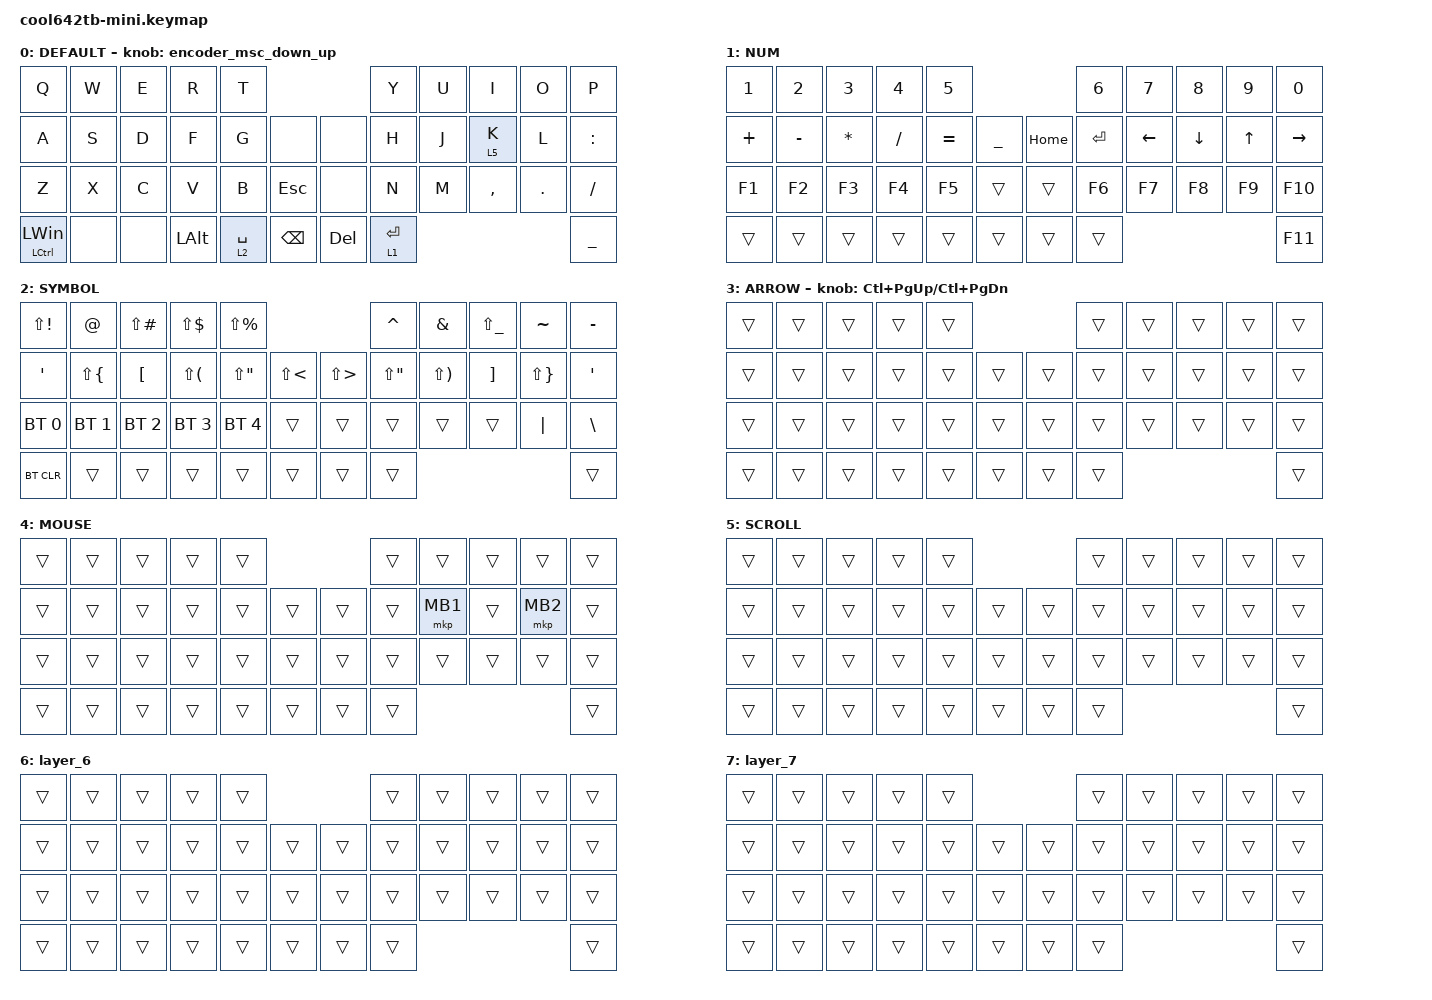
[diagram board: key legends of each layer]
#include <behaviors.dtsi>
#include <dt-bindings/zmk/bt.h>
#include <dt-bindings/zmk/keys.h>
#include <dt-bindings/zmk/pointing.h>

#define MOUSE 4
#define SCROLL 5
#define NUM 6
#define ZMK_POINTING_DEFAULT_SCRL_VAL 80

&mt {
    flavor = "balanced";
    quick-tap-ms = <0>;
};

/ {
    combos {
        compatible = "zmk,combos";

        shift_tab {
            bindings = <&kp LANG2>;
            key-positions = <12 13>;
        };

        lang {
            bindings = <&kp LANG1>;
            key-positions = <18 19>;
        };
    };

    behaviors {
        encoder_msc_down_up: encoder_msc_down_up {
            compatible = "zmk,behavior-sensor-rotate";
            label = "ENCODER_MSC_DOWN_UP";
            #sensor-binding-cells = <0>;
            bindings = <&msc SCRL_UP>, <&msc SCRL_DOWN>;

            tap-ms = <20>;
        };
    };

    keymap {
        compatible = "zmk,keymap";

        DEFAULT {
            bindings = <
&kp Q                      &kp W  &kp E  &kp R         &kp T                                       &kp Y        &kp U  &kp I      &kp O    &kp P
&kp A                      &kp S  &kp D  &kp F         &kp G        &none              &none       &kp H        &kp J  &lt 5 K    &kp L    &kp COLON
&kp Z                      &kp X  &kp C  &kp V         &kp B        &kp ESCAPE         &none       &kp N        &kp M  &kp COMMA  &kp DOT  &kp SLASH
&mt LEFT_CONTROL LEFT_WIN  &none  &none  &kp LEFT_ALT  &lt 2 SPACE  &kp BACKSPACE      &kp DELETE  &lt 1 ENTER                             &kp UNDERSCORE
            >;

            sensor-bindings = <&encoder_msc_down_up>;
        };

        NUM {
            bindings = <
&kp N1    &kp N2     &kp N3     &kp N4     &kp N5                              &kp N6     &kp N7    &kp N8    &kp N9        &kp N0
&kp PLUS  &kp MINUS  &kp ASTRK  &kp SLASH  &kp EQUAL  &kp UNDER      &kp HOME  &kp ENTER  &kp LEFT  &kp DOWN  &kp UP_ARROW  &kp RIGHT
&kp F1    &kp F2     &kp F3     &kp F4     &kp F5     &trans         &trans    &kp F6     &kp F7    &kp F8    &kp F9        &kp F10
&trans    &trans     &trans     &trans     &trans     &trans         &trans    &trans                                       &kp F11
            >;
        };

        SYMBOL {
            bindings = <
&kp LS(EXCL)  &kp AT        &kp LS(POUND)  &kp LS(DLLR)  &kp LS(PRCNT)                              &kp CARET    &kp AMPERSAND  &kp LS(UNDER)  &kp TILDE     &kp MINUS
&kp SQT       &kp LS(LBRC)  &kp LBKT       &kp LS(LPAR)  &kp LS(DQT)    &kp LS(LT)      &kp LS(GT)  &kp LS(DQT)  &kp LS(RPAR)   &kp RBKT       &kp LS(RBRC)  &kp SQT
&bt BT_SEL 0  &bt BT_SEL 1  &bt BT_SEL 2   &bt BT_SEL 3  &bt BT_SEL 4   &trans          &trans      &trans       &trans         &trans         &kp PIPE      &kp BACKSLASH
&bt BT_CLR    &trans        &trans         &trans        &trans         &trans          &trans      &trans                                                   &trans
            >;
        };

        ARROW {
            bindings = <
&trans  &trans  &trans  &trans  &trans                      &trans  &trans  &trans  &trans  &trans
&trans  &trans  &trans  &trans  &trans  &trans      &trans  &trans  &trans  &trans  &trans  &trans
&trans  &trans  &trans  &trans  &trans  &trans      &trans  &trans  &trans  &trans  &trans  &trans
&trans  &trans  &trans  &trans  &trans  &trans      &trans  &trans                          &trans
            >;

            sensor-bindings = <&inc_dec_kp LC(PAGE_UP) LC(PAGE_DOWN)>;
        };

        MOUSE {
            bindings = <
&trans  &trans  &trans  &trans  &trans                      &trans  &trans    &trans  &trans    &trans
&trans  &trans  &trans  &trans  &trans  &trans      &trans  &trans  &mkp MB1  &trans  &mkp MB2  &trans
&trans  &trans  &trans  &trans  &trans  &trans      &trans  &trans  &trans    &trans  &trans    &trans
&trans  &trans  &trans  &trans  &trans  &trans      &trans  &trans                              &trans
            >;
        };

        SCROLL {
            bindings = <
&trans  &trans  &trans  &trans  &trans                      &trans  &trans  &trans  &trans  &trans
&trans  &trans  &trans  &trans  &trans  &trans      &trans  &trans  &trans  &trans  &trans  &trans
&trans  &trans  &trans  &trans  &trans  &trans      &trans  &trans  &trans  &trans  &trans  &trans
&trans  &trans  &trans  &trans  &trans  &trans      &trans  &trans                          &trans
            >;
        };

        layer_6 {
            bindings = <
&trans  &trans  &trans  &trans  &trans                      &trans  &trans  &trans  &trans  &trans
&trans  &trans  &trans  &trans  &trans  &trans      &trans  &trans  &trans  &trans  &trans  &trans
&trans  &trans  &trans  &trans  &trans  &trans      &trans  &trans  &trans  &trans  &trans  &trans
&trans  &trans  &trans  &trans  &trans  &trans      &trans  &trans                          &trans
            >;
        };

        layer_7 {
            bindings = <
&trans  &trans  &trans  &trans  &trans                      &trans  &trans  &trans  &trans  &trans
&trans  &trans  &trans  &trans  &trans  &trans      &trans  &trans  &trans  &trans  &trans  &trans
&trans  &trans  &trans  &trans  &trans  &trans      &trans  &trans  &trans  &trans  &trans  &trans
&trans  &trans  &trans  &trans  &trans  &trans      &trans  &trans                          &trans
            >;
        };
    };
};
